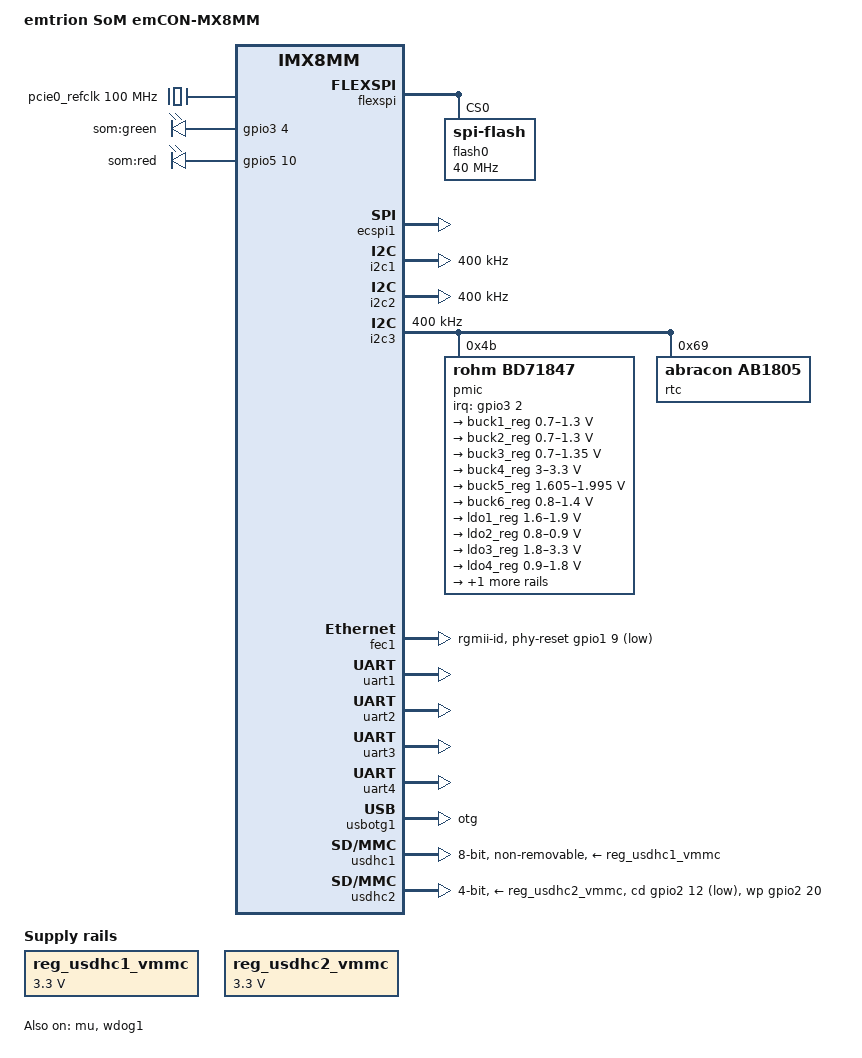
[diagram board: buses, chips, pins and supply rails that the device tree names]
// SPDX-License-Identifier: (GPL-2.0 or MIT)
//
// Copyright 2018 NXP
// Copyright (C) 2021 emtrion GmbH
//

/dts-v1/;

#include "imx8mm.dtsi"

/ {
	model = "emtrion SoM emCON-MX8MM";
	compatible = "emtrion,emcon-mx8", "fsl,imx8mm";

	chosen {
		bootargs = "console=ttymxc0,115200 earlycon=ec_imx6q,0x30860000,115200";
		stdout-path = &uart1;
	};

	reserved-memory {
		#address-cells = <2>;
		#size-cells = <2>;
		ranges;

		rpmsg_reserved: rpmsg@0xb8000000 {
			no-map;
			reg = <0 0xb8000000 0 0x400000>;
		};

		ivshmem_reserved: ivshmem@bbb00000 {
			no-map;
			reg = <0 0xbbb00000 0x0 0x00100000>;
		};

		ivshmem2_reserved: ivshmem2@bba00000 {
			no-map;
			reg = <0 0xbba00000 0x0 0x00100000>;
		};

		pci_reserved: pci@bb800000 {
			no-map;
			reg = <0 0xbb800000 0x0 0x00200000>;
		};

		loader_reserved: loader@bb700000 {
			no-map;
			reg = <0 0xbb700000 0x0 0x00100000>;
		};
	};

	pcie0_refclk: pcie0-refclk {
		/* dummy entry, required for pcie */
		compatible = "fixed-clock";
		#clock-cells = <0>;
		clock-frequency = <100000000>;
	};

	som_leds: leds {
		compatible = "gpio-leds";
		pinctrl-names = "default";
		pinctrl-0 = <&pinctrl_gpio_led>;

		green {
			label = "som:green";
			gpios = <&gpio3 4 0>;
			default-state = "on";
			linux,default-trigger = "heartbeat";
		};

		red {
			label = "som:red";
			gpios = <&gpio5 10 0>;
			default-state = "off";
		};
	};

	lvds_backlight: lvds-backlight {
		compatible = "pwm-backlight";
		enable-gpios = <&gpio3 23 GPIO_ACTIVE_HIGH>;
		pwms = <&pwm1 0 50000 0>;
		brightness-levels = <
			0 4 8 16 32 64 80 96 112
			128 144 160 176 250
		>;
		default-brightness-level = <9>;
		status = "disabled";
	};

	reg_usdhc1_vmmc: regulator-emmc {
		compatible = "regulator-fixed";
		regulator-name = "eMMC";
		regulator-min-microvolt = <3300000>;
		regulator-max-microvolt = <3300000>;
		off-on-delay = <20000>;
		startup-delay-us = <100>;
		enable-active-high;
	};

	reg_usdhc2_vmmc: regulator-usdhc2 {
		compatible = "regulator-fixed";
		regulator-name = "sdcard_3V3";
		regulator-min-microvolt = <3300000>;
		regulator-max-microvolt = <3300000>;
		off-on-delay = <20000>;
		enable-active-high;
	};

	busfreq {
		/* Disable busfreq, to avoid 1st Linux busfreq crash other inmates */
		status = "disabled";
	};
};


&cpu_pd_wait {
	/delete-property/ compatible;
	/* arm,psci-suspend-param = <0x0>; */
};

&iomuxc {
	pinctrl-names = "default";

	emcon-mx8 {
		pinctrl_csi_pwn: csi_pwn_grp {
			fsl,pins = <
				MX8MM_IOMUXC_GPIO1_IO07_GPIO1_IO7		0x19
			>;
		};

		pinctrl_fec1: fec1grp {
			fsl,pins = <
				MX8MM_IOMUXC_ENET_MDC_ENET1_MDC			0x3
				MX8MM_IOMUXC_ENET_MDIO_ENET1_MDIO		0x3
				MX8MM_IOMUXC_ENET_TD3_ENET1_RGMII_TD3		0x1f
				MX8MM_IOMUXC_ENET_TD2_ENET1_RGMII_TD2		0x1f
				MX8MM_IOMUXC_ENET_TD1_ENET1_RGMII_TD1		0x1f
				MX8MM_IOMUXC_ENET_TD0_ENET1_RGMII_TD0		0x1f
				MX8MM_IOMUXC_ENET_RD3_ENET1_RGMII_RD3		0x91
				MX8MM_IOMUXC_ENET_RD2_ENET1_RGMII_RD2		0x91
				MX8MM_IOMUXC_ENET_RD1_ENET1_RGMII_RD1		0x91
				MX8MM_IOMUXC_ENET_RD0_ENET1_RGMII_RD0		0x91
				MX8MM_IOMUXC_ENET_TXC_ENET1_RGMII_TXC		0x1f
				MX8MM_IOMUXC_ENET_RXC_ENET1_RGMII_RXC		0x91
				MX8MM_IOMUXC_ENET_RX_CTL_ENET1_RGMII_RX_CTL	0x91
				MX8MM_IOMUXC_ENET_TX_CTL_ENET1_RGMII_TX_CTL	0x1f
				MX8MM_IOMUXC_GPIO1_IO09_GPIO1_IO9		0x19
			>;
		};

		pinctrl_flexspi0: flexspi0grp {
			fsl,pins = <
				MX8MM_IOMUXC_NAND_ALE_QSPI_A_SCLK		0x1c2
				MX8MM_IOMUXC_NAND_CE0_B_QSPI_A_SS0_B		0x82
				MX8MM_IOMUXC_NAND_DATA00_QSPI_A_DATA0		0x82
				MX8MM_IOMUXC_NAND_DATA01_QSPI_A_DATA1		0x82
				MX8MM_IOMUXC_NAND_DATA02_QSPI_A_DATA2		0x82
				MX8MM_IOMUXC_NAND_DATA03_QSPI_A_DATA3		0x82
				MX8MM_IOMUXC_NAND_DQS_QSPI_A_DQS		0x82
			>;
		};

		pinctrl_flexspi1: flexspi1grp {
			fsl,pins = <
				MX8MM_IOMUXC_NAND_CLE_QSPI_B_SCLK		0x1c2
				MX8MM_IOMUXC_NAND_CE2_B_QSPI_B_SS0_B		0x82
				MX8MM_IOMUXC_NAND_DATA04_QSPI_B_DATA0		0x82
				MX8MM_IOMUXC_NAND_DATA05_QSPI_B_DATA1		0x82
				MX8MM_IOMUXC_NAND_DATA06_QSPI_B_DATA2		0x82
				MX8MM_IOMUXC_NAND_DATA07_QSPI_B_DATA3		0x82
			>;
		};

		pinctrl_ecspi1: ecspi1grp {
			fsl,pins = <
				MX8MM_IOMUXC_ECSPI1_SCLK_ECSPI1_SCLK		0x82
				MX8MM_IOMUXC_ECSPI1_MOSI_ECSPI1_MOSI		0x82
				MX8MM_IOMUXC_ECSPI1_MISO_ECSPI1_MISO		0x82
			>;
		};

		pinctrl_ecspi1_cs: ecspi1cs {
			fsl,pins = <
				MX8MM_IOMUXC_ECSPI1_SS0_GPIO5_IO9		0x40000
				MX8MM_IOMUXC_ECSPI2_SS0_GPIO5_IO13		0x40000
			>;
		};

		pinctrl_gpio_led: gpioledgrp {
			fsl,pins = <
				MX8MM_IOMUXC_ECSPI2_SCLK_GPIO5_IO10		0x19
				MX8MM_IOMUXC_NAND_CE3_B_GPIO3_IO4		0x19
			>;
		};

		pinctrl_i2c1: i2c1grp {
			fsl,pins = <
				MX8MM_IOMUXC_I2C1_SCL_I2C1_SCL			0x400001c3
				MX8MM_IOMUXC_I2C1_SDA_I2C1_SDA			0x400001c3
			>;
		};

		pinctrl_i2c2: i2c2grp {
			fsl,pins = <
				MX8MM_IOMUXC_I2C2_SCL_I2C2_SCL			0x400001c3
				MX8MM_IOMUXC_I2C2_SDA_I2C2_SDA			0x400001c3
			>;
		};

		pinctrl_i2c3: i2c3grp {
			fsl,pins = <
				MX8MM_IOMUXC_I2C3_SCL_I2C3_SCL			0x400001c3
				MX8MM_IOMUXC_I2C3_SDA_I2C3_SDA			0x400001c3
			>;
		};

		pinctrl_pcie0: pcie0grp {
			fsl,pins = <
				MX8MM_IOMUXC_SAI5_RXC_GPIO3_IO20		0x41
				MX8MM_IOMUXC_SAI5_RXFS_GPIO3_IO19		0x41
			>;
		};

		pinctrl_pmic: pmicirq {
			fsl,pins = <
				MX8MM_IOMUXC_NAND_CE1_B_GPIO3_IO2		0x41
			>;
		};

		pinctrl_sai2: sai2grp {
			fsl,pins = <
				MX8MM_IOMUXC_SAI2_MCLK_SAI2_MCLK		0xd6
				MX8MM_IOMUXC_SAI2_RXC_SAI2_RX_BCLK		0xd6
				MX8MM_IOMUXC_SAI2_RXD0_SAI2_RX_DATA0		0xd6
				MX8MM_IOMUXC_SAI2_RXFS_SAI2_RX_SYNC		0xd6
				MX8MM_IOMUXC_SAI2_TXC_SAI2_TX_BCLK		0xd6
				MX8MM_IOMUXC_SAI2_TXD0_SAI2_TX_DATA0		0xd6
				MX8MM_IOMUXC_SAI2_TXFS_SAI2_TX_SYNC		0xd6
			>;
		};

		pinctrl_spdif1: spdif1grp {
			fsl,pins = <
				MX8MM_IOMUXC_SPDIF_TX_SPDIF1_OUT		0xd6
				MX8MM_IOMUXC_SPDIF_RX_SPDIF1_IN			0xd6
			>;
		};

		pinctrl_uart1: uart1grp {
			fsl,pins = <
				MX8MM_IOMUXC_UART1_RXD_UART1_DCE_RX		0x140
				MX8MM_IOMUXC_UART1_TXD_UART1_DCE_TX		0x140
			>;
		};

		pinctrl_uart2: uart2grp {
			fsl,pins = <
				MX8MM_IOMUXC_UART2_RXD_UART2_DCE_RX		0x140
				MX8MM_IOMUXC_UART2_TXD_UART2_DCE_TX		0x140

				/* rts and cts */
				MX8MM_IOMUXC_SAI3_RXC_UART2_DCE_CTS_B		0x140
				MX8MM_IOMUXC_SAI3_RXD_UART2_DCE_RTS_B		0x140
			>;
		};

		pinctrl_uart3: uart3grp {
			fsl,pins = <
				MX8MM_IOMUXC_UART3_RXD_UART3_DCE_RX		0x140
				MX8MM_IOMUXC_UART3_TXD_UART3_DCE_TX		0x140
			>;
		};

		pinctrl_uart4: uart4grp {
			fsl,pins = <
				MX8MM_IOMUXC_UART4_RXD_UART4_DCE_RX		0x140
				MX8MM_IOMUXC_UART4_TXD_UART4_DCE_TX		0x140
			>;
		};

		pinctrl_usdhc1_gpio: usdhc1grpgpio {
			fsl,pins = <
				MX8MM_IOMUXC_SD1_RESET_B_USDHC1_RESET_B		0x41
				MX8MM_IOMUXC_GPIO1_IO03_GPIO1_IO3		0x1c4
			>;
		};

		pinctrl_usdhc1: usdhc1grp {
			fsl,pins = <
				MX8MM_IOMUXC_SD1_CLK_USDHC1_CLK			0x190
				MX8MM_IOMUXC_SD1_CMD_USDHC1_CMD			0x1d0
				MX8MM_IOMUXC_SD1_DATA0_USDHC1_DATA0		0x1d0
				MX8MM_IOMUXC_SD1_DATA1_USDHC1_DATA1		0x1d0
				MX8MM_IOMUXC_SD1_DATA2_USDHC1_DATA2		0x1d0
				MX8MM_IOMUXC_SD1_DATA3_USDHC1_DATA3		0x1d0
				MX8MM_IOMUXC_SD1_DATA4_USDHC1_DATA4		0x1d0
				MX8MM_IOMUXC_SD1_DATA5_USDHC1_DATA5		0x1d0
				MX8MM_IOMUXC_SD1_DATA6_USDHC1_DATA6		0x1d0
				MX8MM_IOMUXC_SD1_DATA7_USDHC1_DATA7		0x1d0
			>;
		};

		pinctrl_usdhc1_100mhz: usdhc1grp100mhz {
			fsl,pins = <
				MX8MM_IOMUXC_SD1_CLK_USDHC1_CLK			0x194
				MX8MM_IOMUXC_SD1_CMD_USDHC1_CMD			0x1d4
				MX8MM_IOMUXC_SD1_DATA0_USDHC1_DATA0		0x1d4
				MX8MM_IOMUXC_SD1_DATA1_USDHC1_DATA1		0x1d4
				MX8MM_IOMUXC_SD1_DATA2_USDHC1_DATA2		0x1d4
				MX8MM_IOMUXC_SD1_DATA3_USDHC1_DATA3		0x1d4
				MX8MM_IOMUXC_SD1_DATA4_USDHC1_DATA4		0x1d4
				MX8MM_IOMUXC_SD1_DATA5_USDHC1_DATA5		0x1d4
				MX8MM_IOMUXC_SD1_DATA6_USDHC1_DATA6		0x1d4
				MX8MM_IOMUXC_SD1_DATA7_USDHC1_DATA7		0x1d4
			>;
		};

		pinctrl_usdhc1_200mhz: usdhc1grp200mhz {
			fsl,pins = <
				MX8MM_IOMUXC_SD1_CLK_USDHC1_CLK			0x196
				MX8MM_IOMUXC_SD1_CMD_USDHC1_CMD			0x1d6
				MX8MM_IOMUXC_SD1_DATA0_USDHC1_DATA0		0x1d6
				MX8MM_IOMUXC_SD1_DATA1_USDHC1_DATA1		0x1d6
				MX8MM_IOMUXC_SD1_DATA2_USDHC1_DATA2		0x1d6
				MX8MM_IOMUXC_SD1_DATA3_USDHC1_DATA3		0x1d6
				MX8MM_IOMUXC_SD1_DATA4_USDHC1_DATA4		0x1d6
				MX8MM_IOMUXC_SD1_DATA5_USDHC1_DATA5		0x1d6
				MX8MM_IOMUXC_SD1_DATA6_USDHC1_DATA6		0x1d6
				MX8MM_IOMUXC_SD1_DATA7_USDHC1_DATA7		0x1d6
			>;
		};

		/* no reset for sdhc2 interface */
		pinctrl_usdhc2_gpio: usdhc2grpgpio {
			fsl,pins = <
				MX8MM_IOMUXC_SD2_CD_B_GPIO2_IO12		0x1c4
				MX8MM_IOMUXC_SD2_WP_USDHC2_WP			0x1c4
			>;
		};

		pinctrl_usdhc2: usdhc2grp {
			fsl,pins = <
				MX8MM_IOMUXC_SD2_CLK_USDHC2_CLK			0x190
				MX8MM_IOMUXC_SD2_CMD_USDHC2_CMD			0x1d0
				MX8MM_IOMUXC_SD2_DATA0_USDHC2_DATA0		0x1d0
				MX8MM_IOMUXC_SD2_DATA1_USDHC2_DATA1		0x1d0
				MX8MM_IOMUXC_SD2_DATA2_USDHC2_DATA2		0x1d0
				MX8MM_IOMUXC_SD2_DATA3_USDHC2_DATA3		0x1d0
				MX8MM_IOMUXC_GPIO1_IO04_USDHC2_VSELECT		0x1d0
			>;
		};

		pinctrl_usdhc2_100mhz: usdhc2grp100mhz {
			fsl,pins = <
				MX8MM_IOMUXC_SD2_CLK_USDHC2_CLK			0x194
				MX8MM_IOMUXC_SD2_CMD_USDHC2_CMD			0x1d4
				MX8MM_IOMUXC_SD2_DATA0_USDHC2_DATA0		0x1d4
				MX8MM_IOMUXC_SD2_DATA1_USDHC2_DATA1		0x1d4
				MX8MM_IOMUXC_SD2_DATA2_USDHC2_DATA2		0x1d4
				MX8MM_IOMUXC_SD2_DATA3_USDHC2_DATA3		0x1d4
				MX8MM_IOMUXC_GPIO1_IO04_USDHC2_VSELECT		0x1d0
			>;
		};

		pinctrl_usdhc2_200mhz: usdhc2grp200mhz {
			fsl,pins = <
				MX8MM_IOMUXC_SD2_CLK_USDHC2_CLK			0x196
				MX8MM_IOMUXC_SD2_CMD_USDHC2_CMD			0x1d6
				MX8MM_IOMUXC_SD2_DATA0_USDHC2_DATA0		0x1d6
				MX8MM_IOMUXC_SD2_DATA1_USDHC2_DATA1		0x1d6
				MX8MM_IOMUXC_SD2_DATA2_USDHC2_DATA2		0x1d6
				MX8MM_IOMUXC_SD2_DATA3_USDHC2_DATA3		0x1d6
				MX8MM_IOMUXC_GPIO1_IO04_USDHC2_VSELECT		0x1d0
			>;
		};

		pinctrl_wdog: wdoggrp {
			fsl,pins = <
				MX8MM_IOMUXC_GPIO1_IO02_WDOG1_WDOG_B		0xc6
			>;
		};

		pinctrl_pwm1: pwm1grp {
			fsl,pins = <
				MX8MM_IOMUXC_GPIO1_IO01_PWM1_OUT		0x06
			>;
		};

		pinctrl_lvds: lvdsgrp {
			fsl,pins = <
				MX8MM_IOMUXC_SAI5_MCLK_GPIO3_IO25		0x06
			>;
		};
	};
};

&clk {
	init-on-array = <
		IMX8MM_CLK_USDHC3_ROOT
		IMX8MM_CLK_NAND_USDHC_BUS
		IMX8MM_CLK_UART4_ROOT
	>;
};

&flexspi {
	pinctrl-names = "default";
	pinctrl-0 = <&pinctrl_flexspi0>;
	pinctrl-1 = <&pinctrl_flexspi1>;
	status = "okay";

	flash0: spi-flash@0 {
		reg = <0>;
		#address-cells = <1>;
		#size-cells = <1>;
		compatible = "spi-flash";
		spi-max-frequency = <40000000>;
	};
};

&ecspi1 {
	#address-cells = <1>;
	#size-cells = <0>;
	fsl,spi-num-chipselects = <1>;
	pinctrl-names = "default";
	pinctrl-0 = <&pinctrl_ecspi1 &pinctrl_ecspi1_cs>;
	cs-gpios = <&gpio5 9 GPIO_ACTIVE_LOW>;
	status = "okay";
};

&i2c1 {
	clock-frequency = <400000>;
	pinctrl-names = "default";
	pinctrl-0 = <&pinctrl_i2c1>;
	status = "okay";
};

&i2c2 {
	clock-frequency = <400000>;
	pinctrl-names = "default";
	pinctrl-0 = <&pinctrl_i2c2>;
	status = "okay";
};

&i2c3 {
	clock-frequency = <400000>;
	pinctrl-names = "default";
	pinctrl-0 = <&pinctrl_i2c3>;
	status = "okay";

	pmic: bd71837@4b {
		compatible = "rohm,bd71847";
		reg = <0x4b>;
		pinctrl-0 = <&pinctrl_pmic>;
		interrupt-parent = <&gpio3>;
		interrupts = <2 GPIO_ACTIVE_LOW>;
		rohm,reset-snvs-powered;

		regulators {
			buck1_reg: BUCK1 {
				regulator-name = "BUCK1";
				regulator-min-microvolt = <700000>;
				regulator-max-microvolt = <1300000>;
				regulator-boot-on;
				regulator-always-on;
				regulator-ramp-delay = <1250>;
			};

			buck2_reg: BUCK2 {
				regulator-name = "BUCK2";
				regulator-min-microvolt = <700000>;
				regulator-max-microvolt = <1300000>;
				regulator-boot-on;
				regulator-always-on;
				regulator-ramp-delay = <1250>;
				rohm,dvs-run-voltage = <1000000>;
				rohm,dvs-idle-voltage = <900000>;
			};

			buck3_reg: BUCK3 {
				// BUCK5 in datasheet
				regulator-name = "BUCK3";
				regulator-min-microvolt = <700000>;
				regulator-max-microvolt = <1350000>;
				regulator-boot-on;
				regulator-always-on;
			};

			buck4_reg: BUCK4 {
				// BUCK6 in datasheet
				regulator-name = "BUCK4";
				regulator-min-microvolt = <3000000>;
				regulator-max-microvolt = <3300000>;
				regulator-boot-on;
				regulator-always-on;
			};

			buck5_reg: BUCK5 {
				// BUCK7 in datasheet
				regulator-name = "BUCK5";
				regulator-min-microvolt = <1605000>;
				regulator-max-microvolt = <1995000>;
				regulator-boot-on;
				regulator-always-on;
			};

			buck6_reg: BUCK6 {
				// BUCK8 in datasheet
				regulator-name = "BUCK6";
				regulator-min-microvolt = <800000>;
				regulator-max-microvolt = <1400000>;
				regulator-boot-on;
				regulator-always-on;
			};

			ldo1_reg: LDO1 {
				regulator-name = "LDO1";
				regulator-min-microvolt = <1600000>;
				regulator-max-microvolt = <1900000>;
				regulator-boot-on;
				regulator-always-on;
			};

			ldo2_reg: LDO2 {
				regulator-name = "LDO2";
				regulator-min-microvolt = <800000>;
				regulator-max-microvolt = <900000>;
				regulator-boot-on;
				regulator-always-on;
			};

			ldo3_reg: LDO3 {
				regulator-name = "LDO3";
				regulator-min-microvolt = <1800000>;
				regulator-max-microvolt = <3300000>;
				regulator-boot-on;
				regulator-always-on;
			};

			ldo4_reg: LDO4 {
				regulator-name = "LDO4";
				regulator-min-microvolt = <900000>;
				regulator-max-microvolt = <1800000>;
				regulator-boot-on;
				regulator-always-on;
			};

			ldo6_reg: LDO6 {
				regulator-name = "LDO6";
				regulator-min-microvolt = <900000>;
				regulator-max-microvolt = <1800000>;
				regulator-boot-on;
				regulator-always-on;
			};
		};
	};

	rtc: rv1805@69 {
		reg = <0x69>;
		compatible = "abracon,ab1805";
		status = "okay";
	};
};

&pwm1 {
	pinctrl-names = "default";
	pinctrl-0 = <&pinctrl_pwm1>;
};

&mu {
	status = "okay";
};

&sai2 {
	#sound-dai-cells = <0>;
	pinctrl-names = "default";
	pinctrl-0 = <&pinctrl_sai2>;
	assigned-clocks = <&clk IMX8MM_CLK_SAI2>;
	assigned-clock-parents = <&clk IMX8MM_AUDIO_PLL1_OUT>;
	assigned-clock-rates = <12000000>;
	status = "disabled";
};

&spdif1 {
	pinctrl-names = "default";
	pinctrl-0 = <&pinctrl_spdif1>;
	assigned-clocks = <&clk IMX8MM_CLK_SPDIF1>;
	assigned-clock-parents = <&clk IMX8MM_AUDIO_PLL1_OUT>;
	assigned-clock-rates = <24576000>;
	clocks = <&clk IMX8MM_CLK_AUDIO_AHB>, <&clk IMX8MM_CLK_24M>,
		<&clk IMX8MM_CLK_SPDIF1>, <&clk IMX8MM_CLK_DUMMY>,
		<&clk IMX8MM_CLK_DUMMY>, <&clk IMX8MM_CLK_DUMMY>,
		<&clk IMX8MM_CLK_AUDIO_AHB>, <&clk IMX8MM_CLK_DUMMY>,
		<&clk IMX8MM_CLK_DUMMY>, <&clk IMX8MM_CLK_DUMMY>,
		<&clk IMX8MM_AUDIO_PLL1_OUT>, <&clk IMX8MM_AUDIO_PLL2_OUT>;
	clock-names = "core", "rxtx0", "rxtx1", "rxtx2", "rxtx3",
		"rxtx4", "rxtx5", "rxtx6", "rxtx7", "spba", "pll8k", "pll11k";
	status = "disabled";
};

&fec1 {
	pinctrl-names = "default";
	pinctrl-0 = <&pinctrl_fec1>;
	phy-mode = "rgmii-id";
	phy-reset-gpios = <&gpio1 9 0>;
	fsl,magic-packet;
	status = "okay";
};

&uart1 { /* console */
	pinctrl-names = "default";
	pinctrl-0 = <&pinctrl_uart1>;
	assigned-clocks = <&clk IMX8MM_CLK_UART1>;
	assigned-clock-parents = <&clk IMX8MM_SYS_PLL1_80M>;
	status = "okay";
};

&uart2 {
	pinctrl-names = "default";
	pinctrl-0 = <&pinctrl_uart2>;
	assigned-clocks = <&clk IMX8MM_CLK_UART2>;
	assigned-clock-parents = <&clk IMX8MM_SYS_PLL1_80M>;
	status = "okay";
};

&uart3 {
	pinctrl-names = "default";
	pinctrl-0 = <&pinctrl_uart3>;
	assigned-clocks = <&clk IMX8MM_CLK_UART3>;
	assigned-clock-parents = <&clk IMX8MM_SYS_PLL1_80M>;
	status = "okay";
};

&uart4 {
	pinctrl-names = "default";
	pinctrl-0 = <&pinctrl_uart4>;
	assigned-clocks = <&clk IMX8MM_CLK_UART4>;
	assigned-clock-parents = <&clk IMX8MM_SYS_PLL1_80M>;
	status = "okay";
};

&usbotg1 {
	dr_mode = "otg";
	over-current-active-low;
	status = "okay";
};

&usbotg2 {
	dr_mode = "host";
	disable-over-current;
	status = "disabled";
};

&usdhc1 {
	pinctrl-names = "default", "state_100mhz", "state_200mhz";
	pinctrl-0 = <&pinctrl_usdhc1>, <&pinctrl_usdhc1_gpio>;
	pinctrl-1 = <&pinctrl_usdhc1_100mhz>, <&pinctrl_usdhc1_gpio>;
	pinctrl-2 = <&pinctrl_usdhc1_200mhz>, <&pinctrl_usdhc1_gpio>;
	bus-width = <8>;
	vmmc-supply = <&reg_usdhc1_vmmc>;
	pm-ignore-notify;
	keep-power-in-suspend;
	non-removable;
	status = "okay";
};

&usdhc2 {
	pinctrl-names = "default", "state_100mhz", "state_200mhz";
	pinctrl-0 = <&pinctrl_usdhc2>, <&pinctrl_usdhc2_gpio>;
	pinctrl-1 = <&pinctrl_usdhc2_100mhz>, <&pinctrl_usdhc2_gpio>;
	pinctrl-2 = <&pinctrl_usdhc2_200mhz>, <&pinctrl_usdhc2_gpio>;
	cd-gpios = <&gpio2 12 GPIO_ACTIVE_LOW>;
	wp-gpios = <&gpio2 20 GPIO_ACTIVE_HIGH>;
	bus-width = <4>;
	vmmc-supply = <&reg_usdhc2_vmmc>;
	no-1-8-v;
	status = "okay";
};

&wdog1 {
	pinctrl-names = "default";
	pinctrl-0 = <&pinctrl_wdog>;
	fsl,ext-reset-output;
	status = "okay";
};

&A53_0 {
	cpu-supply = <&buck2_reg>;
};
